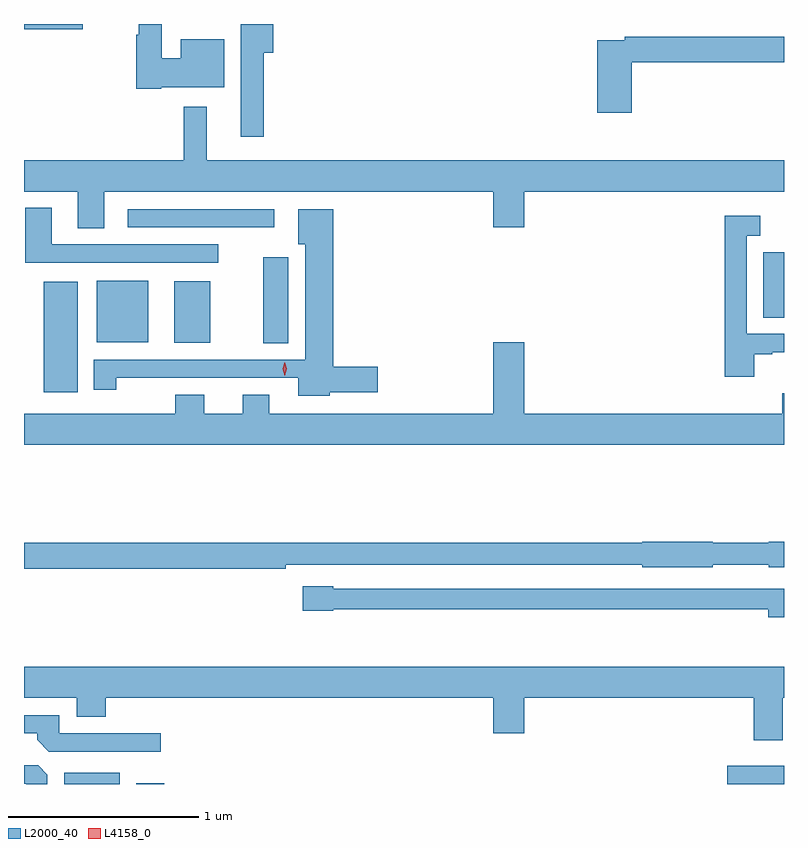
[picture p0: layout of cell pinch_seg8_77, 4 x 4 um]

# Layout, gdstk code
import gdstk
lib = gdstk.Library(unit=1e-6, precision=1e-09)
def R(c, l, rs):  # rectangles x0, y0, x1, y1
    for r in rs: c.add(gdstk.rectangle(r[:2], r[2:], *l))
def P(c, l, *ps):  # polygons
    for p in ps: c.add(gdstk.Polygon(p, *l))
L2000_40 = (2000, 40)
L4158_0 = (4158, 0)

pinch_seg8_77 = lib.new_cell('pinch_seg8_77')
R(pinch_seg8_77, L2000_40, [(1049.861,1120.042,1050.154,1120.102), (1050.242,1120.042,1050.389,1120.045), (1053.35,1120.042,1053.65,1120.138), (1049.753,1122.104,1049.932,1122.685), (1050.908,1122.361,1051.042,1122.814), (1050.44,1122.365,1050.631,1122.688), (1050.032,1122.368,1050.304,1122.691), (1053.542,1122.496,1053.65,1122.84), (1050.195,1122.972,1050.967,1123.068), (1049.65,1124.015,1049.959,1124.042)])
P(pinch_seg8_77, L2000_40, [(1050.913,1123.892),(1050.962,1123.892),(1050.962,1124.042),(1050.791,1124.042),(1050.791,1123.449),(1050.913,1123.449)],
  [(1050.372,1123.709),(1050.703,1123.709),(1050.703,1123.963),(1050.476,1123.963),(1050.476,1123.862),(1050.376,1123.862),(1050.376,1124.042),(1050.254,1124.042),(1050.254,1123.985),(1050.242,1123.985),(1050.242,1123.702),(1050.372,1123.702)],
  [(1052.849,1123.84),(1053.65,1123.84),(1053.65,1123.976),(1052.812,1123.976),(1052.812,1123.956),(1052.666,1123.956),(1052.666,1123.575),(1052.849,1123.575)],
  [(1050.073,1123.16),(1052.12,1123.16),(1052.12,1122.972),(1052.284,1122.972),(1052.284,1123.16),(1053.65,1123.16),(1053.65,1123.324),(1050.613,1123.324),(1050.613,1123.606),(1050.492,1123.606),(1050.492,1123.324),(1049.65,1123.324),(1049.65,1123.16),(1049.933,1123.16),(1049.933,1122.967),(1050.073,1122.967)],
  [(1050.673,1122.882),(1049.797,1122.882),(1049.797,1123.075),(1049.657,1123.075),(1049.657,1122.786),(1050.673,1122.786)],
  [(1051.26,1122.104),(1051.513,1122.104),(1051.513,1122.239),(1051.277,1122.239),(1051.277,1123.066),(1051.094,1123.066),(1051.094,1122.884),(1051.13,1122.884),(1051.13,1122.276),(1050.017,1122.276),(1050.017,1122.117),(1050.135,1122.117),(1050.135,1122.179),(1050.362,1122.179),(1050.362,1122.18),(1051.094,1122.18),(1051.094,1122.086),(1051.26,1122.086)],
  [(1053.493,1122.303),(1053.589,1122.303),(1053.589,1122.315),(1053.65,1122.315),(1053.65,1122.411),(1053.453,1122.411),(1053.453,1122.927),(1053.526,1122.927),(1053.526,1123.033),(1053.337,1123.033),(1053.337,1122.186),(1053.493,1122.186)],
  [(1053.65,1122.098),(1053.641,1122.098),(1053.641,1121.992),(1052.284,1121.992),(1052.284,1122.367),(1052.12,1122.367),(1052.12,1121.992),(1050.94,1121.992),(1050.94,1122.091),(1050.8,1122.091),(1050.8,1121.992),(1050.598,1121.992),(1050.598,1122.091),(1050.446,1122.091),(1050.446,1121.992),(1049.65,1121.992),(1049.65,1121.828),(1053.65,1121.828)],
  [(1051.028,1121.196),(1052.904,1121.196),(1052.904,1121.183),(1053.276,1121.183),(1053.276,1121.196),(1053.57,1121.196),(1053.57,1121.183),(1053.65,1121.183),(1053.65,1121.318),(1053.57,1121.318),(1053.57,1121.312),(1053.276,1121.312),(1053.276,1121.318),(1052.904,1121.318),(1052.904,1121.312),(1049.65,1121.312),(1049.65,1121.176),(1051.028,1121.176)],
  [(1053.65,1121.07),(1051.278,1121.07),(1051.278,1121.083),(1051.116,1121.083),(1051.116,1120.954),(1051.278,1120.954),(1051.278,1120.962),(1053.566,1120.962),(1053.566,1120.919),(1053.65,1120.919)],
  [(1053.643,1120.496),(1053.65,1120.496),(1053.65,1120.66),(1049.65,1120.66),(1049.65,1120.496),(1049.927,1120.496),(1049.927,1120.397),(1050.08,1120.397),(1050.08,1120.496),(1052.12,1120.496),(1052.12,1120.308),(1052.284,1120.308),(1052.284,1120.496),(1053.491,1120.496),(1053.491,1120.272),(1053.643,1120.272)],
  [(1050.37,1120.308),(1049.835,1120.308),(1049.835,1120.404),(1049.65,1120.404),(1049.65,1120.308),(1049.72,1120.308),(1049.72,1120.274),(1049.781,1120.212),(1050.37,1120.212)],
  [(1049.773,1120.091),(1049.724,1120.14),(1049.65,1120.14),(1049.65,1120.044),(1049.661,1120.044),(1049.661,1120.042),(1049.773,1120.042)])
P(pinch_seg8_77, L4158_0, [(1051.022,1122.191),(1051.022,1122.192),(1051.013,1122.227),(1051.023,1122.263),(1051.023,1122.263),(1051.023,1122.263),(1051.033,1122.227),(1051.022,1122.192)])

lib.write_gds('pinch_seg8_77.gds')
